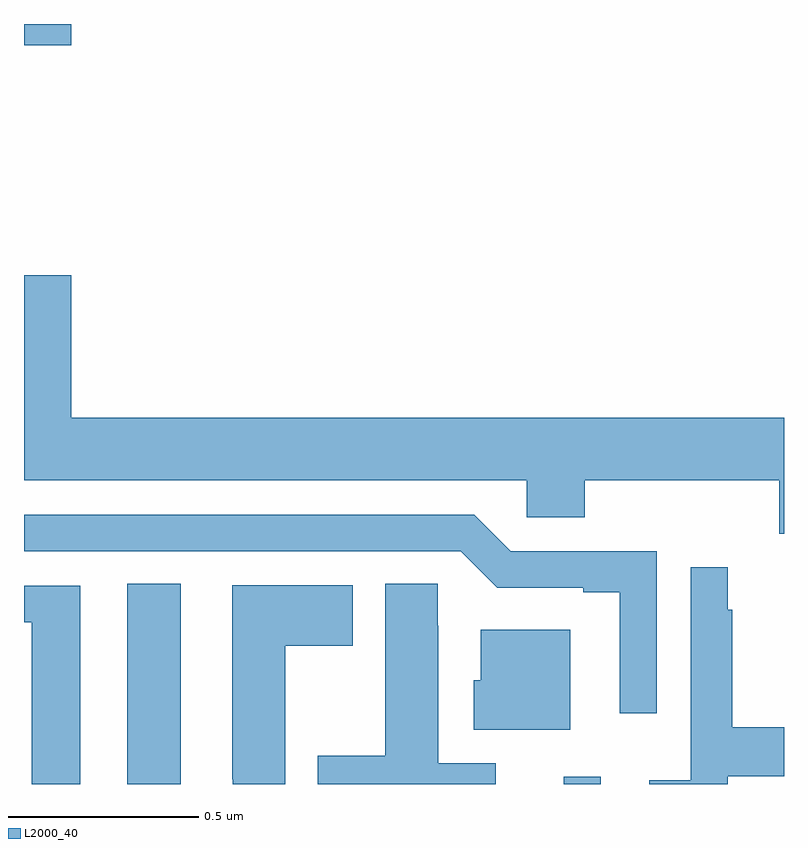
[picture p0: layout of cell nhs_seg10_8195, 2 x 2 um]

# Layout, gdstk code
import gdstk
lib = gdstk.Library(unit=1e-6, precision=1e-09)
def R(c, l, rs):  # rectangles x0, y0, x1, y1
    for r in rs: c.add(gdstk.rectangle(r[:2], r[2:], *l))
def P(c, l, *ps):  # polygons
    for p in ps: c.add(gdstk.Polygon(p, *l))
L2000_40 = (2000, 40)

nhs_seg10_8195 = lib.new_cell('nhs_seg10_8195')
R(nhs_seg10_8195, L2000_40, [(213.272,1315.5,213.412,1316.027), (214.421,1315.5,214.518,1315.519), (213,1317.444,213.124,1317.5)])
P(nhs_seg10_8195, L2000_40, [(215,1316.464),(213.124,1316.464),(213.124,1316.839),(213,1316.839),(213,1316.3),(214.323,1316.3),(214.323,1316.202),(214.475,1316.202),(214.475,1316.3),(214.988,1316.3),(214.988,1316.158),(215,1316.158)],
  [(214.665,1316.112),(214.281,1316.112),(214.185,1316.208),(213,1316.208),(213,1316.112),(214.149,1316.112),(214.245,1316.016),(214.472,1316.016),(214.472,1316.004),(214.568,1316.004),(214.568,1315.686),(214.665,1315.686)],
  [(214.852,1315.52),(215,1315.52),(215,1315.65),(214.864,1315.65),(214.864,1315.958),(214.852,1315.958),(214.852,1316.071),(214.755,1316.071),(214.755,1315.51),(214.646,1315.51),(214.646,1315.5),(214.852,1315.5)],
  [(214.241,1315.554),(214.09,1315.554),(214.09,1315.916),(214.089,1315.916),(214.089,1316.027),(213.95,1316.027),(213.95,1315.575),(213.773,1315.575),(213.773,1315.5),(214.241,1315.5)],
  [(213.688,1315.864),(213.865,1315.864),(213.865,1316.023),(213.548,1316.023),(213.548,1315.513),(213.549,1315.513),(213.549,1315.5),(213.688,1315.5)],
  [(213.148,1316.022),(213,1316.022),(213,1315.926),(213.02,1315.926),(213.02,1315.5),(213.148,1315.5)],
  [(214.438,1315.906),(214.202,1315.906),(214.202,1315.773),(214.184,1315.773),(214.184,1315.643),(214.438,1315.643)])

lib.write_gds('nhs_seg10_8195.gds')
